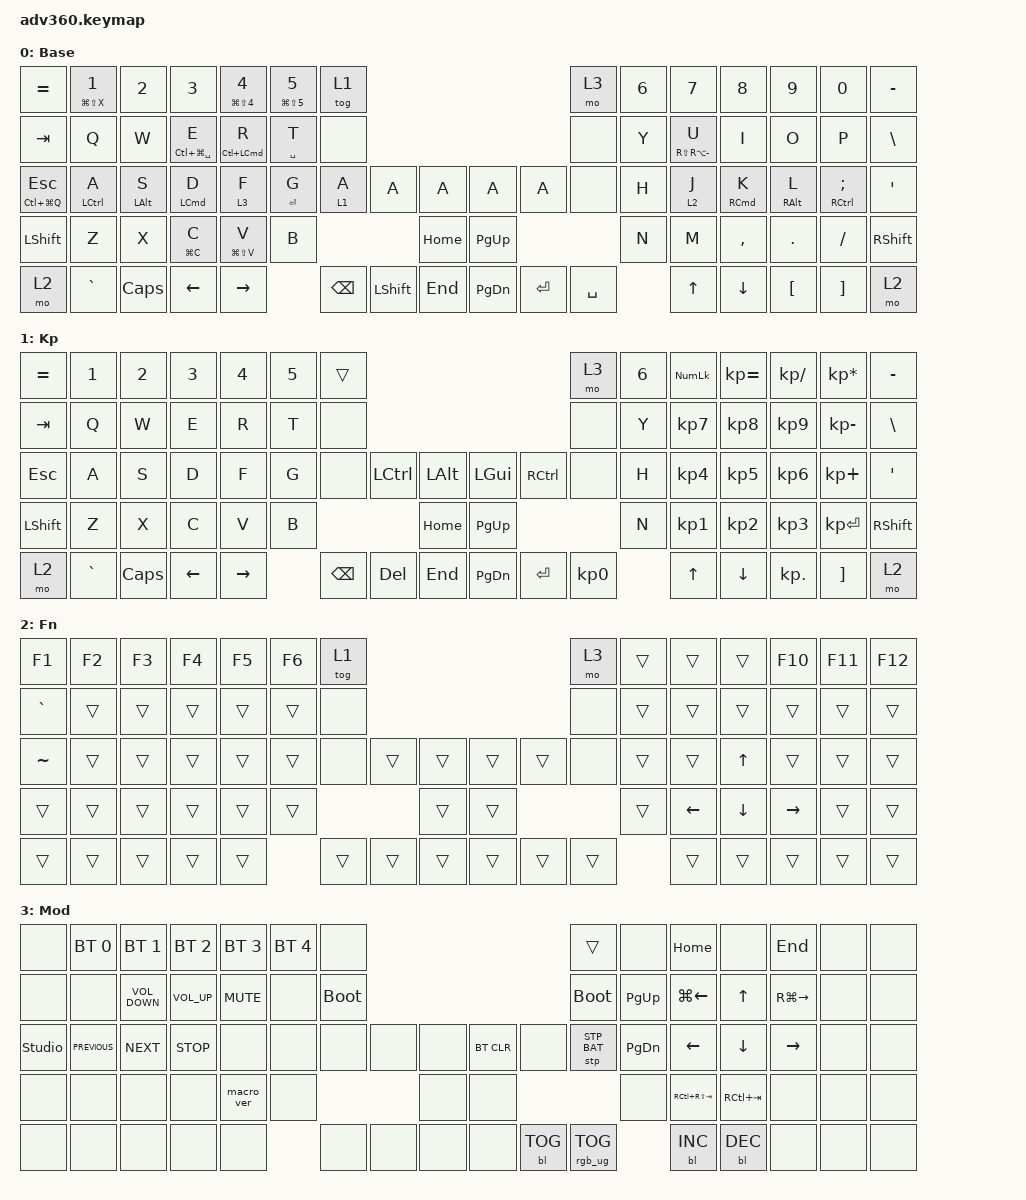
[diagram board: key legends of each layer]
#include <dt-bindings/zmk/stp.h>
#include <behaviors.dtsi>
#include <dt-bindings/zmk/backlight.h>
#include <dt-bindings/zmk/bt.h>
#include <dt-bindings/zmk/keys.h>
#include <dt-bindings/zmk/rgb.h>

/ {
    behaviors {
        #include "macros.dtsi"
      #include "version.dtsi"

        hm: homerow_mods {
            compatible = "zmk,behavior-hold-tap";
            label = "HOMEROW_MODS";
            #binding-cells = <2>;
            tapping-term-ms = <400>;
            quick_tap_ms = <400>;
            flavor = "tap-preferred";
            bindings = <&kp>, <&kp>;

            quick-tap-ms = <400>;
        };
    };

    keymap {
        compatible = "zmk,keymap";

        default_layer {
            display-name = "Base";
            bindings = <
&kp EQUAL          &hm LG(LS(X)) NUMBER_1  &kp N2          &kp N3               &hm LG(LS(NUMBER_4)) NUMBER_4  &hm LG(LS(NUMBER_5)) N5  &tog 1                                                        &mo 3      &kp N6  &kp N7               &kp N8               &kp N9           &kp N0                       &kp MINUS
&kp TAB            &kp Q                   &kp W           &hm LC(LG(SPACE)) E  &hm LC(LEFT_COMMAND) R         &hm SPACE T              &none                                                         &none      &kp Y   &hm RS(RA(MINUS)) U  &kp I                &kp O            &kp P                        &kp BSLH
&hm LC(LG(Q)) ESC  &hm LEFT_CONTROL A      &hm LEFT_ALT S  &hm LEFT_COMMAND D   &lt 3 F                        &hm ENTER G              &lt 1 A   &kp A           &kp A         &kp A      &kp A      &none      &kp H   &lt 2 J              &hm RIGHT_COMMAND K  &hm RIGHT_ALT L  &hm RIGHT_CONTROL SEMICOLON  &kp SQT
&kp LSHFT          &kp Z                   &kp X           &hm LG(C) C          &hm LG(LS(V)) V                &kp B                                              &kp HOME      &kp PG_UP                        &kp N   &kp M                &kp COMMA            &kp DOT          &kp FSLH                     &kp RSHFT
&mo 2              &kp GRAVE               &kp CAPS        &kp LEFT             &kp RIGHT                                               &kp BSPC  &kp LEFT_SHIFT  &kp END       &kp PG_DN  &kp ENTER  &kp SPACE          &kp UP               &kp DOWN             &kp LBKT         &kp RBKT                     &mo 2
            >;
        };

        keypad {
            display-name = "Kp";
            bindings = <
&kp EQUAL  &kp N1     &kp N2    &kp N3    &kp N4     &kp N5  &trans                                                   &mo 3      &kp N6  &kp KP_NUM  &kp KP_EQUAL  &kp KP_DIVIDE  &kp KP_MULTIPLY  &kp MINUS
&kp TAB    &kp Q      &kp W     &kp E     &kp R      &kp T   &none                                                    &none      &kp Y   &kp KP_N7   &kp KP_N8     &kp KP_N9      &kp KP_MINUS     &kp BSLH
&kp ESC    &kp A      &kp S     &kp D     &kp F      &kp G   &none     &kp LCTRL  &kp LALT      &kp LGUI   &kp RCTRL  &none      &kp H   &kp KP_N4   &kp KP_N5     &kp KP_N6      &kp KP_PLUS      &kp SQT
&kp LSHFT  &kp Z      &kp X     &kp C     &kp V      &kp B                        &kp HOME      &kp PG_UP                        &kp N   &kp KP_N1   &kp KP_N2     &kp KP_N3      &kp KP_ENTER     &kp RSHFT
&mo 2      &kp GRAVE  &kp CAPS  &kp LEFT  &kp RIGHT          &kp BSPC  &kp DEL    &kp END       &kp PG_DN  &kp ENTER  &kp KP_N0          &kp UP      &kp DOWN      &kp KP_DOT     &kp RBKT         &mo 2
            >;
        };

        fn {
            display-name = "Fn";
            bindings = <
&kp F1     &kp F2  &kp F3  &kp F4  &kp F5  &kp F6  &tog 1                                      &mo 3   &trans  &trans    &trans    &kp F10    &kp F11  &kp F12
&kp GRAVE  &trans  &trans  &trans  &trans  &trans  &none                                       &none   &trans  &trans    &trans    &trans     &trans   &trans
&kp TILDE  &trans  &trans  &trans  &trans  &trans  &none   &trans  &trans      &trans  &trans  &none   &trans  &trans    &kp UP    &trans     &trans   &trans
&trans     &trans  &trans  &trans  &trans  &trans                  &trans      &trans                  &trans  &kp LEFT  &kp DOWN  &kp RIGHT  &trans   &trans
&trans     &trans  &trans  &trans  &trans          &trans  &trans  &trans      &trans  &trans  &trans          &trans    &trans    &trans     &trans   &trans
            >;
        };

        mod {
            display-name = "Mod";
            bindings = <
&none           &bt BT_SEL 0    &bt BT_SEL 1       &bt BT_SEL 2     &bt BT_SEL 3  &bt BT_SEL 4  &none                                                  &trans           &none          &kp HOME            &none        &kp END        &none  &none
&none           &none           &kp C_VOLUME_DOWN  &kp C_VOLUME_UP  &kp C_MUTE    &none         &bootloader                                            &bootloader      &kp PAGE_UP    &kp LG(LEFT_ARROW)  &kp UP       &kp RG(RIGHT)  &none  &none
&studio_unlock  &kp C_PREVIOUS  &kp C_NEXT         &kp C_STOP       &none         &none         &none        &none  &none      &bt BT_CLR  &none       &stp STP_BAT     &kp PAGE_DOWN  &kp LEFT            &kp DOWN     &kp RIGHT      &none  &none
&none           &none           &none              &none            &macro_ver    &none                             &none      &none                                    &none          &kp RC(RS(TAB))     &kp RC(TAB)  &none          &none  &none
&none           &none           &none              &none            &none                       &none        &none  &none      &none       &bl BL_TOG  &rgb_ug RGB_TOG                 &bl BL_INC          &bl BL_DEC   &none          &none  &none
            >;
        };

        extra1 {
            display-name = "Red";
            status = "reserved";
        };

        extra2 {
            display-name = "Purple";
            status = "reserved";
        };

        extra3 {
            display-name = "Cyan";
            status = "reserved";
        };

        extra4 {
            display-name = "Yellow";
            status = "reserved";
        };
    };
};
